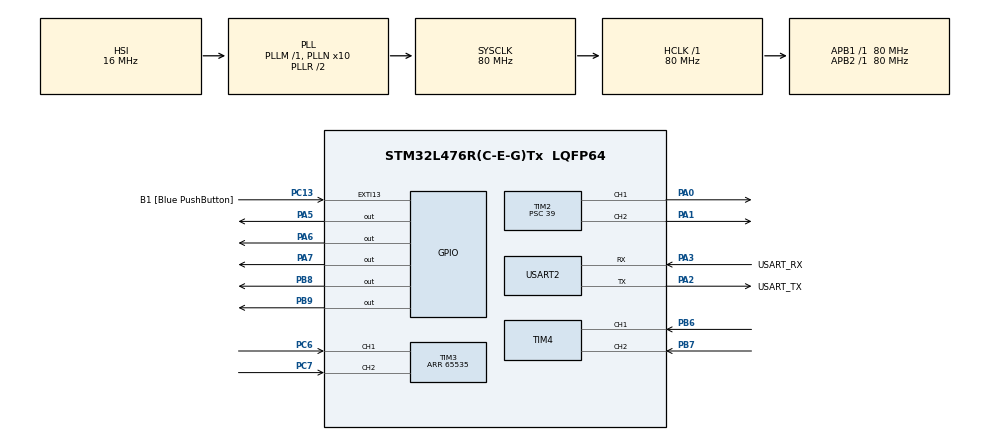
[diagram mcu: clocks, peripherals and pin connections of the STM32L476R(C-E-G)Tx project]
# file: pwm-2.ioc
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Mcu.Family=STM32L4
Mcu.Name=STM32L476R(C-E-G)Tx
Mcu.Package=LQFP64
NVIC.PriorityGroup=NVIC_PRIORITYGROUP_4
NVIC.TIM1_UP_TIM16_IRQn=true\:0\:0\:false\:false\:true\:true\:true
PA0.Signal=S_TIM2_CH1
PA1.Signal=S_TIM2_CH2
PA13\ (JTMS-SWDIO).GPIO_Label=TMS
PA13\ (JTMS-SWDIO).Signal=SYS_JTMS-SWDIO
PA14\ (JTCK-SWCLK).GPIO_Label=TCK
PA14\ (JTCK-SWCLK).Signal=SYS_JTCK-SWCLK
PA2.GPIO_Label=USART_TX
PA2.GPIO_Mode=GPIO_MODE_AF_PP
PA2.GPIO_PuPd=GPIO_NOPULL
PA2.GPIO_Speed=GPIO_SPEED_FREQ_VERY_HIGH
PA2.Mode=Asynchronous
PA2.Signal=USART2_TX
PA3.GPIO_Label=USART_RX
PA3.GPIO_Mode=GPIO_MODE_AF_PP
PA3.GPIO_PuPd=GPIO_NOPULL
PA3.GPIO_Speed=GPIO_SPEED_FREQ_VERY_HIGH
PA3.Mode=Asynchronous
PA3.Signal=USART2_RX
PA5.Signal=GPIO_Output
PA6.Signal=GPIO_Output
PA7.Signal=GPIO_Output
PB3\ (JTDO-TRACESWO).GPIO_Label=SWO
PB3\ (JTDO-TRACESWO).Signal=SYS_JTDO-SWO
PB6.Signal=S_TIM4_CH1
PB7.Signal=S_TIM4_CH2
PB8.Signal=GPIO_Output
PB9.Signal=GPIO_Output
PC13.GPIO_Label=B1 [Blue PushButton]
PC13.GPIO_ModeDefaultEXTI=GPIO_MODE_IT_FALLING
PC13.GPIO_PuPd=GPIO_NOPULL
PC13.Signal=GPXTI13
PC14-OSC32_IN\ (PC14).Signal=RCC_OSC32_IN
PC15-OSC32_OUT\ (PC15).Signal=RCC_OSC32_OUT
PC6.Signal=S_TIM3_CH1
PC7.Signal=S_TIM3_CH2
PH0-OSC_IN\ (PH0).Signal=RCC_OSC_IN
PH1-OSC_OUT\ (PH1).Signal=RCC_OSC_OUT
ProjectManager.HeapSize=0x200
ProjectManager.StackSize=0x400
ProjectManager.TargetToolchain=STM32CubeIDE
RCC.ADCFreq_Value=64000000
RCC.AHBFreq_Value=80000000
RCC.APB1Freq_Value=80000000
RCC.APB1TimFreq_Value=80000000
RCC.APB2Freq_Value=80000000
RCC.APB2TimFreq_Value=80000000
RCC.CortexFreq_Value=80000000
RCC.HCLKFreq_Value=80000000
RCC.HSE_VALUE=8000000
RCC.HSI_VALUE=16000000
RCC.LSE_VALUE=32768
RCC.MSI_VALUE=4000000
RCC.PLLN=10
RCC.PLLSourceVirtual=RCC_PLLSOURCE_HSI
RCC.PREFETCH_ENABLE=1
RCC.SYSCLKFreq_VALUE=80000000
RCC.SYSCLKSource=RCC_SYSCLKSOURCE_PLLCLK
RCC.USBFreq_Value=64000000
RCC.VCOOutputFreq_Value=160000000
SH.S_TIM2_CH1.0=TIM2_CH1,PWM Generation1 CH1
SH.S_TIM2_CH2.0=TIM2_CH2,PWM Generation2 CH2
SH.S_TIM3_CH1.0=TIM3_CH1,Encoder_Interface
SH.S_TIM3_CH2.0=TIM3_CH2,Encoder_Interface
SH.S_TIM4_CH1.0=TIM4_CH1,Encoder_Interface
SH.S_TIM4_CH2.0=TIM4_CH2,Encoder_Interface
TIM16.Period=9
TIM16.Prescaler=7999
TIM2.Channel-PWM\ Generation1\ CH1=TIM_CHANNEL_1
TIM2.Channel-PWM\ Generation2\ CH2=TIM_CHANNEL_2
TIM2.Period=1001
TIM2.Prescaler=39
TIM2.Pulse-PWM\ Generation1\ CH1=500
TIM2.Pulse-PWM\ Generation2\ CH2=500
TIM3.EncoderMode=TIM_ENCODERMODE_TI12
TIM3.IC1Filter=15
TIM3.IC2Filter=15
TIM3.Period=65535
TIM4.EncoderMode=TIM_ENCODERMODE_TI12
USART2.VirtualMode-Asynchronous=VM_ASYNC
VP_TIM16_VS_ClockSourceINT.Mode=Enable_Timer
VP_TIM2_VS_ClockSourceINT.Mode=Internal
board=NUCLEO-L476RG

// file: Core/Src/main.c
/* USER CODE BEGIN Header */
/**
  ******************************************************************************
  * @file           : main.c
  * @brief          : Main program body
  ******************************************************************************
  * @attention
  *
  * <h2><center>&copy; Copyright (c) 2020 STMicroelectronics.
  * All rights reserved.</center></h2>
  *
  * This software component is licensed by ST under BSD 3-Clause license,
  * the "License"; You may not use this file except in compliance with the
  * License. You may obtain a copy of the License at:
  *                        opensource.org/licenses/BSD-3-Clause
  *
  ******************************************************************************
  */
/* USER CODE END Header */
#include "main.h"

/* USER CODE BEGIN Includes */
#include "stdio.h"
#include "math.h"
/* USER CODE END Includes */

/* USER CODE BEGIN PD */
extern float x;
extern float y;
extern float vL;
extern float vP;
extern uint16_t tim;
uint16_t tim_last = 0;

char str[15];
/* USER CODE END PD */

TIM_HandleTypeDef htim2;
TIM_HandleTypeDef htim3;
TIM_HandleTypeDef htim4;
TIM_HandleTypeDef htim16;

UART_HandleTypeDef huart2;

void SystemClock_Config(void);
static void MX_GPIO_Init(void);
static void MX_TIM2_Init(void);
static void MX_TIM16_Init(void);
static void MX_TIM3_Init(void);
static void MX_TIM4_Init(void);
static void MX_USART2_UART_Init(void);

int main(void)
{

  /* MCU Configuration--------------------------------------------------------*/

  /* Reset of all peripherals, Initializes the Flash interface and the Systick. */
  HAL_Init();

  /* Configure the system clock */
  SystemClock_Config();

  /* Initialize all configured peripherals */
  MX_GPIO_Init();
  MX_TIM2_Init();
  MX_TIM16_Init();
  MX_TIM3_Init();
  MX_TIM4_Init();
  MX_USART2_UART_Init();
  /* USER CODE BEGIN 2 */
  HAL_GPIO_WritePin(GPIOA, GPIO_PIN_6, 0);
  HAL_GPIO_WritePin(GPIOA, GPIO_PIN_7, 0);
  HAL_GPIO_WritePin(GPIOB, GPIO_PIN_8, 0);
  HAL_GPIO_WritePin(GPIOB, GPIO_PIN_9, 0);
  HAL_TIM_PWM_Start(&htim2, TIM_CHANNEL_1);
  HAL_TIM_PWM_Start(&htim2, TIM_CHANNEL_2);
  HAL_TIM_Base_Start_IT(&htim16);
  HAL_TIM_Encoder_Start(&htim3, TIM_CHANNEL_ALL);
  HAL_TIM_Encoder_Start(&htim4, TIM_CHANNEL_ALL);
  TIM2 -> CCR1 = 0;
  TIM2 -> CCR2 = 0;
  HAL_GPIO_WritePin(GPIOA, GPIO_PIN_6, 0);
  HAL_GPIO_WritePin(GPIOA, GPIO_PIN_7, 0);
  HAL_GPIO_WritePin(GPIOB, GPIO_PIN_8, 0);
  HAL_GPIO_WritePin(GPIOB, GPIO_PIN_9, 0);
  HAL_GPIO_WritePin(GPIOA, GPIO_PIN_5, 0);
  /* USER CODE END 2 */

  /* Infinite loop */
  while (1)
  {

    /* USER CODE BEGIN 3 */
	  if(tim%100 == 0 && tim_last != tim)
	  {
		  tim_last = tim;

		  // x i y
		  for(int i = 0; i<15; i++)
			  str[i] = ' ';
		  sprintf(str,"%d.%d ", (int16_t)(x), (int16_t)((int32_t)(fabs(x)*1000)%1000));
		  HAL_UART_Transmit(&huart2, (uint8_t *)&str, sizeof(str), 100);
		  for(int i = 0; i<15; i++)
			  str[i] = ' ';
		  sprintf(str,"%d.%d ", (int16_t)(y), (int16_t)((int32_t)(fabs(y)*1000)%1000));
		  HAL_UART_Transmit(&huart2, (uint8_t *)&str, sizeof(str), 100);

		  // predkosc przed zaokragleniem
		  for(int i = 0; i<15; i++)
			  str[i] = ' ';
		  sprintf(str,"%d.%d ", (int16_t)(vL), (int16_t)((int32_t)(fabs(vL)*1000)%1000));
		  HAL_UART_Transmit(&huart2, (uint8_t *)&str, sizeof(str), 100);
		  for(int i = 0; i<15; i++)
			  str[i] = ' ';
		  sprintf(str,"%d.%d ", (int16_t)(vP), (int16_t)((int32_t)(fabs(vP)*1000)%1000));
		  HAL_UART_Transmit(&huart2, (uint8_t *)&str, sizeof(str), 100);

		  // predkosc pwm
		  for(int i = 0; i<15; i++)
			  str[i] = ' ';
		  sprintf(str,"%d ", (int16_t)(TIM2 -> CCR1));
		  HAL_UART_Transmit(&huart2, (uint8_t *)&str, sizeof(str), 100);
		  for(int i = 0; i<15; i++)
			  str[i] = ' ';
		  sprintf(str,"%d ", (int16_t)(TIM2 -> CCR2));
		  HAL_UART_Transmit(&huart2, (uint8_t *)&str, sizeof(str), 100);

		  // enkoder
		  for(int i = 0; i<15; i++)
			  str[i] = ' ';
		  sprintf(str,"%d ", (int16_t)(TIM3->CNT));
		  HAL_UART_Transmit(&huart2, (uint8_t *)&str, sizeof(str), 100);
		  for(int i = 0; i<15; i++)
			  str[i] = ' ';
		  sprintf(str,"%d\n\r", (int16_t)(TIM4->CNT));
		  HAL_UART_Transmit(&huart2, (uint8_t *)&str, sizeof(str), 100);
	  }
  }
  /* USER CODE END 3 */
}

void SystemClock_Config(void)
{
  RCC_OscInitTypeDef RCC_OscInitStruct = {0};
  RCC_ClkInitTypeDef RCC_ClkInitStruct = {0};
  RCC_PeriphCLKInitTypeDef PeriphClkInit = {0};

  /** Initializes the RCC Oscillators according to the specified parameters
  * in the RCC_OscInitTypeDef structure.
  */
  RCC_OscInitStruct.OscillatorType = RCC_OSCILLATORTYPE_HSI;
  RCC_OscInitStruct.HSIState = RCC_HSI_ON;
  RCC_OscInitStruct.HSICalibrationValue = RCC_HSICALIBRATION_DEFAULT;
  RCC_OscInitStruct.PLL.PLLState = RCC_PLL_ON;
  RCC_OscInitStruct.PLL.PLLSource = RCC_PLLSOURCE_HSI;
  RCC_OscInitStruct.PLL.PLLM = 1;
  RCC_OscInitStruct.PLL.PLLN = 10;
  RCC_OscInitStruct.PLL.PLLP = RCC_PLLP_DIV7;
  RCC_OscInitStruct.PLL.PLLQ = RCC_PLLQ_DIV2;
  RCC_OscInitStruct.PLL.PLLR = RCC_PLLR_DIV2;
  if (HAL_RCC_OscConfig(&RCC_OscInitStruct) != HAL_OK)
  {
    Error_Handler();
  }
  /** Initializes the CPU, AHB and APB buses clocks
  */
  RCC_ClkInitStruct.ClockType = RCC_CLOCKTYPE_HCLK|RCC_CLOCKTYPE_SYSCLK
                              |RCC_CLOCKTYPE_PCLK1|RCC_CLOCKTYPE_PCLK2;
  RCC_ClkInitStruct.SYSCLKSource = RCC_SYSCLKSOURCE_PLLCLK;
  RCC_ClkInitStruct.AHBCLKDivider = RCC_SYSCLK_DIV1;
  RCC_ClkInitStruct.APB1CLKDivider = RCC_HCLK_DIV1;
  RCC_ClkInitStruct.APB2CLKDivider = RCC_HCLK_DIV1;

  if (HAL_RCC_ClockConfig(&RCC_ClkInitStruct, FLASH_LATENCY_4) != HAL_OK)
  {
    Error_Handler();
  }
  PeriphClkInit.PeriphClockSelection = RCC_PERIPHCLK_USART2;
  PeriphClkInit.Usart2ClockSelection = RCC_USART2CLKSOURCE_PCLK1;
  if (HAL_RCCEx_PeriphCLKConfig(&PeriphClkInit) != HAL_OK)
  {
    Error_Handler();
  }
  /** Configure the main internal regulator output voltage
  */
  if (HAL_PWREx_ControlVoltageScaling(PWR_REGULATOR_VOLTAGE_SCALE1) != HAL_OK)
  {
    Error_Handler();
  }
}

static void MX_TIM2_Init(void)
{

  TIM_ClockConfigTypeDef sClockSourceConfig = {0};
  TIM_MasterConfigTypeDef sMasterConfig = {0};
  TIM_OC_InitTypeDef sConfigOC = {0};

  htim2.Instance = TIM2;
  htim2.Init.Prescaler = 39;
  htim2.Init.CounterMode = TIM_COUNTERMODE_UP;
  htim2.Init.Period = 1001;
  htim2.Init.ClockDivision = TIM_CLOCKDIVISION_DIV1;
  htim2.Init.AutoReloadPreload = TIM_AUTORELOAD_PRELOAD_DISABLE;
  if (HAL_TIM_Base_Init(&htim2) != HAL_OK)
  {
    Error_Handler();
  }
  sClockSourceConfig.ClockSource = TIM_CLOCKSOURCE_INTERNAL;
  if (HAL_TIM_ConfigClockSource(&htim2, &sClockSourceConfig) != HAL_OK)
  {
    Error_Handler();
  }
  if (HAL_TIM_PWM_Init(&htim2) != HAL_OK)
  {
    Error_Handler();
  }
  sMasterConfig.MasterOutputTrigger = TIM_TRGO_RESET;
  sMasterConfig.MasterSlaveMode = TIM_MASTERSLAVEMODE_DISABLE;
  if (HAL_TIMEx_MasterConfigSynchronization(&htim2, &sMasterConfig) != HAL_OK)
  {
    Error_Handler();
  }
  sConfigOC.OCMode = TIM_OCMODE_PWM1;
  sConfigOC.Pulse = 500;
  sConfigOC.OCPolarity = TIM_OCPOLARITY_HIGH;
  sConfigOC.OCFastMode = TIM_OCFAST_DISABLE;
  if (HAL_TIM_PWM_ConfigChannel(&htim2, &sConfigOC, TIM_CHANNEL_1) != HAL_OK)
  {
    Error_Handler();
  }
  if (HAL_TIM_PWM_ConfigChannel(&htim2, &sConfigOC, TIM_CHANNEL_2) != HAL_OK)
  {
    Error_Handler();
  }
  HAL_TIM_MspPostInit(&htim2);

}

static void MX_TIM3_Init(void)
{

  TIM_Encoder_InitTypeDef sConfig = {0};
  TIM_MasterConfigTypeDef sMasterConfig = {0};

  htim3.Instance = TIM3;
  htim3.Init.Prescaler = 0;
  htim3.Init.CounterMode = TIM_COUNTERMODE_UP;
  htim3.Init.Period = 65535;
  htim3.Init.ClockDivision = TIM_CLOCKDIVISION_DIV1;
  htim3.Init.AutoReloadPreload = TIM_AUTORELOAD_PRELOAD_DISABLE;
  sConfig.EncoderMode = TIM_ENCODERMODE_TI12;
  sConfig.IC1Polarity = TIM_ICPOLARITY_RISING;
  sConfig.IC1Selection = TIM_ICSELECTION_DIRECTTI;
  sConfig.IC1Prescaler = TIM_ICPSC_DIV1;
  sConfig.IC1Filter = 15;
  sConfig.IC2Polarity = TIM_ICPOLARITY_RISING;
  sConfig.IC2Selection = TIM_ICSELECTION_DIRECTTI;
  sConfig.IC2Prescaler = TIM_ICPSC_DIV1;
  sConfig.IC2Filter = 15;
  if (HAL_TIM_Encoder_Init(&htim3, &sConfig) != HAL_OK)
  {
    Error_Handler();
  }
  sMasterConfig.MasterOutputTrigger = TIM_TRGO_RESET;
  sMasterConfig.MasterSlaveMode = TIM_MASTERSLAVEMODE_DISABLE;
  if (HAL_TIMEx_MasterConfigSynchronization(&htim3, &sMasterConfig) != HAL_OK)
  {
    Error_Handler();
  }

}

static void MX_TIM4_Init(void)
{

  TIM_Encoder_InitTypeDef sConfig = {0};
  TIM_MasterConfigTypeDef sMasterConfig = {0};

  htim4.Instance = TIM4;
  htim4.Init.Prescaler = 0;
  htim4.Init.CounterMode = TIM_COUNTERMODE_UP;
  htim4.Init.Period = 65535;
  htim4.Init.ClockDivision = TIM_CLOCKDIVISION_DIV1;
  htim4.Init.AutoReloadPreload = TIM_AUTORELOAD_PRELOAD_DISABLE;
  sConfig.EncoderMode = TIM_ENCODERMODE_TI12;
  sConfig.IC1Polarity = TIM_ICPOLARITY_RISING;
  sConfig.IC1Selection = TIM_ICSELECTION_DIRECTTI;
  sConfig.IC1Prescaler = TIM_ICPSC_DIV1;
  sConfig.IC1Filter = 0;
  sConfig.IC2Polarity = TIM_ICPOLARITY_RISING;
  sConfig.IC2Selection = TIM_ICSELECTION_DIRECTTI;
  sConfig.IC2Prescaler = TIM_ICPSC_DIV1;
  sConfig.IC2Filter = 0;
  if (HAL_TIM_Encoder_Init(&htim4, &sConfig) != HAL_OK)
  {
    Error_Handler();
  }
  sMasterConfig.MasterOutputTrigger = TIM_TRGO_RESET;
  sMasterConfig.MasterSlaveMode = TIM_MASTERSLAVEMODE_DISABLE;
  if (HAL_TIMEx_MasterConfigSynchronization(&htim4, &sMasterConfig) != HAL_OK)
  {
    Error_Handler();
  }

}

static void MX_TIM16_Init(void)
{

  htim16.Instance = TIM16;
  htim16.Init.Prescaler = 7999;
  htim16.Init.CounterMode = TIM_COUNTERMODE_UP;
  htim16.Init.Period = 9;
  htim16.Init.ClockDivision = TIM_CLOCKDIVISION_DIV1;
  htim16.Init.RepetitionCounter = 0;
  htim16.Init.AutoReloadPreload = TIM_AUTORELOAD_PRELOAD_DISABLE;
  if (HAL_TIM_Base_Init(&htim16) != HAL_OK)
  {
    Error_Handler();
  }

}

static void MX_USART2_UART_Init(void)
{

  huart2.Instance = USART2;
  huart2.Init.BaudRate = 115200;
  huart2.Init.WordLength = UART_WORDLENGTH_8B;
  huart2.Init.StopBits = UART_STOPBITS_1;
  huart2.Init.Parity = UART_PARITY_NONE;
  huart2.Init.Mode = UART_MODE_TX_RX;
  huart2.Init.HwFlowCtl = UART_HWCONTROL_NONE;
  huart2.Init.OverSampling = UART_OVERSAMPLING_16;
  huart2.Init.OneBitSampling = UART_ONE_BIT_SAMPLE_DISABLE;
  huart2.AdvancedInit.AdvFeatureInit = UART_ADVFEATURE_NO_INIT;
  if (HAL_UART_Init(&huart2) != HAL_OK)
  {
    Error_Handler();
  }

}

static void MX_GPIO_Init(void)
{
  GPIO_InitTypeDef GPIO_InitStruct = {0};

  /* GPIO Ports Clock Enable */
  __HAL_RCC_GPIOC_CLK_ENABLE();
  __HAL_RCC_GPIOH_CLK_ENABLE();
  __HAL_RCC_GPIOA_CLK_ENABLE();
  __HAL_RCC_GPIOB_CLK_ENABLE();

  /*Configure GPIO pin Output Level */
  HAL_GPIO_WritePin(GPIOA, GPIO_PIN_5|GPIO_PIN_6|GPIO_PIN_7, GPIO_PIN_RESET);

  /*Configure GPIO pin Output Level */
  HAL_GPIO_WritePin(GPIOB, GPIO_PIN_8|GPIO_PIN_9, GPIO_PIN_RESET);

  /*Configure GPIO pin : B1_Pin */
  GPIO_InitStruct.Pin = B1_Pin;
  GPIO_InitStruct.Mode = GPIO_MODE_IT_FALLING;
  GPIO_InitStruct.Pull = GPIO_NOPULL;
  HAL_GPIO_Init(B1_GPIO_Port, &GPIO_InitStruct);

  /*Configure GPIO pins : PA5 PA6 PA7 */
  GPIO_InitStruct.Pin = GPIO_PIN_5|GPIO_PIN_6|GPIO_PIN_7;
  GPIO_InitStruct.Mode = GPIO_MODE_OUTPUT_PP;
  GPIO_InitStruct.Pull = GPIO_NOPULL;
  GPIO_InitStruct.Speed = GPIO_SPEED_FREQ_LOW;
  HAL_GPIO_Init(GPIOA, &GPIO_InitStruct);

  /*Configure GPIO pins : PB8 PB9 */
  GPIO_InitStruct.Pin = GPIO_PIN_8|GPIO_PIN_9;
  GPIO_InitStruct.Mode = GPIO_MODE_OUTPUT_PP;
  GPIO_InitStruct.Pull = GPIO_NOPULL;
  GPIO_InitStruct.Speed = GPIO_SPEED_FREQ_LOW;
  HAL_GPIO_Init(GPIOB, &GPIO_InitStruct);

}

void Error_Handler(void)
{
  __disable_irq();
  while (1)
  {
  }
}

/************************ (C) COPYRIGHT STMicroelectronics *****END OF FILE****/
